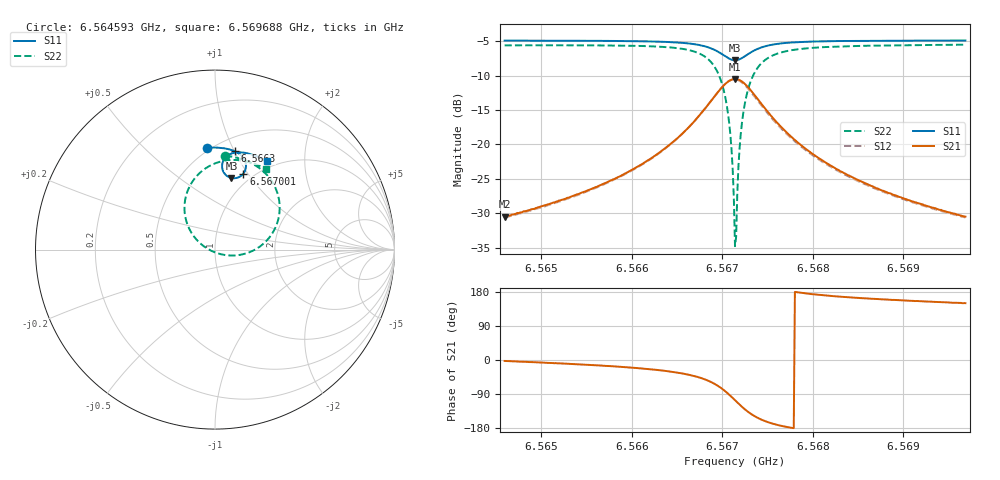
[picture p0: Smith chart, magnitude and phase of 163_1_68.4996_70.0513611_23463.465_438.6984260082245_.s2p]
#  HZ  S  RI  R  50.00
! Rohde & Schwarz Vector Network Analyzer
! Rohde-Schwarz,ZNB20-2Port,1311601062101988,3.16
! Created: UTC 3/20/2024, 5:11:00 PM
! freq[Hz]  re:S11  im:S11  re:S21  im:S21  re:S12  im:S12  re:S22  im:S22
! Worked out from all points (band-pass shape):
!   401 points, 6.564593 GHz to 6.569688 GHz, reference 50 ohm
!   highest |S21| = -10.47 dB at 6.567141 GHz (marker M1); lowest = -30.5 dB at 6.564593 GHz (marker M2)
!   |S21| within 3 dB of the highest: 6.566887 GHz to 6.567396 GHz (509.3 kHz wide, 0.00775 % of centre)
!   lowest |S11| = -7.8 dB at 6.567141 GHz (marker M3), VSWR 2.39, Z = 42.2 + j40.5 ohm
!   |S11| at or under -10 dB: nowhere
!   |S22| runs from -34.8 to -5.5 dB; largest |S21 - S12| = 0.014
!   S11 on the Smith chart (normalised r, x): 6.564593 GHz: 0.48, +0.80; 6.5663 GHz: 0.63, +1.00; 6.567001 GHz: 0.90, +0.95; 6.569688 GHz: 0.90, +1.31
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6.5645934e9  -0.0447 0.5674  0.0298 -0.0013  0.0293 -0.00177  0.0561 0.5229
6.5654467e9  0.0262 0.5672  0.0438 -0.0091  0.043 -0.00976  0.1398 0.5069
6.5663001e9  0.1087 0.5487  0.0775 -0.0394  0.0764 -0.04  0.2599 0.444
6.566593e9  0.144 0.5266  0.1007 -0.0762  0.0991 -0.0776  0.3225 0.3711
6.5667968e9  0.168 0.4918  0.1139 -0.1368  0.1112 -0.1395  0.3598 0.2542
6.5669115e9  0.172 0.4573  0.1026 -0.1973  0.0975 -0.2011  0.3435 0.1391
6.5670006e9  0.1584 0.4238  0.0619 -0.2546  0.0531 -0.2579  0.2689 0.0321
6.5670388e9  0.145 0.4107  0.0311 -0.276  0.0201 -0.2778  0.2113 -0.00615
6.567077e9  0.1272 0.4013  -0.00817 -0.2902  -0.0207 -0.2896  0.1393 -0.0293
6.5671025e9  0.1132 0.3981  -0.0377 -0.2935  -0.0507 -0.2909  0.0856 -0.0329
6.567128e9  0.0986 0.398  -0.0679 -0.2912  -0.0811 -0.2861  0.0315 -0.0254
6.5671407e9  0.0913 0.3992  -0.0831 -0.2877  -0.0958 -0.2815  0.00524 -0.0175
6.5671534e9  0.0841 0.4013  -0.0977 -0.2827  -0.11 -0.2754  -0.0202 -0.0069
6.5671662e9  0.0772 0.404  -0.1117 -0.2764  -0.1235 -0.268  -0.044 0.00615
6.5671917e9  0.065 0.4117  -0.1371 -0.26  -0.1472 -0.2498  -0.0864 0.0386
6.5672299e9  0.0507 0.427  -0.1668 -0.2288  -0.1738 -0.2169  -0.1336 0.0975
6.5672808e9  0.0408 0.4502  -0.1891 -0.1826  -0.1924 -0.1705  -0.1653 0.1813
6.5673445e9  0.0405 0.4774  -0.1953 -0.1297  -0.1948 -0.1191  -0.1669 0.2742
6.5675738e9  0.0784 0.529  -0.1495 -0.0288  -0.1462 -0.0243  -0.0644 0.4441
6.5679941e9  0.1417 0.5421  -0.0853 0.00932  -0.0833 0.0106  0.0773 0.4984
6.5688474e9  0.2239 0.5231  -0.0414 0.0158  -0.0404 0.016  0.2087 0.4823
6.569688e9  0.2872 0.4933  -0.0259 0.015  -0.0253 0.0151  0.2856 0.4484
